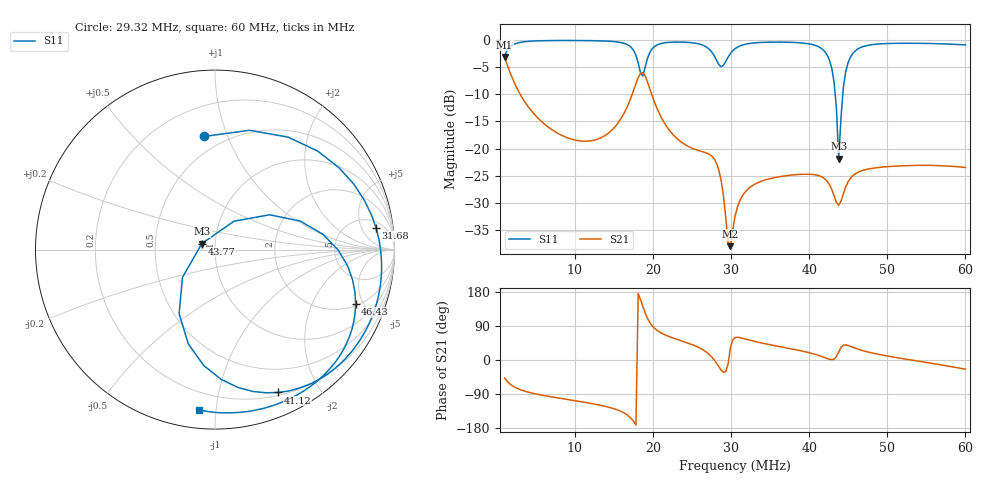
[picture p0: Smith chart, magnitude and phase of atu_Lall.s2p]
! S11/S21 from S-A-A-2 VNA
! Written 2026-11-14 07:43:04 by the saav2 MCP server
! S12 and S22 were not measured (1.5-port VNA) and are written as 0
# HZ S RI R 50
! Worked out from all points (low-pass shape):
!   201 points, 1 MHz to 60 MHz, reference 50 ohm
!   highest |S21| = -3.14 dB at 1 MHz (marker M1); lowest = -38.0 dB at 29.91 MHz (marker M2)
!   |S21| within 3 dB of the highest: start of sweep to 1.737 MHz; 18.44 MHz to 18.75 MHz (313 kHz wide, 1.68 % of centre)
!   lowest |S11| = -21.9 dB at 43.77 MHz (marker M3), VSWR 1.18, Z = 43.1 + j2.94 ohm
!   |S11| at or under -10 dB: 43.33 MHz to 44.3 MHz (978.5 kHz wide, 2.23 % of centre)
!   S12 and S22 are empty: the file has one direction only
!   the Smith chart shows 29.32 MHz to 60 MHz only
!   S11 on the Smith chart (normalised r, x): 29.32 MHz: 0.39, +0.83; 31.68 MHz: 7, +10; 41.12 MHz: 0.23, -1.51; 43.77 MHz: 0.86, +0.06; 46.43 MHz: 2.14, -4.37; 60 MHz: 0.10, -0.90
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1000000  0.5365 0.4687  0.4693 -0.5152  0 0  0 0
3360000  0.9455 0.1466  0.0453 -0.2815  0 0  0 0
1.103e7  0.9166 -0.3575  -0.0417 -0.1092  0 0  0 0
1.7225e7  0.1581 -0.8358  -0.2707 -0.1294  0 0  0 0
1.8405e7  -0.4909 -0.0638  -0.4607 0.1747  0 0  0 0
1.929e7  0.362 0.5684  -0.1418 0.3857  0 0  0 0
2.0765e7  0.9127 -0.00642  0.0552 0.2059  0 0  0 0
2.46e7  0.6761 -0.6608  0.0749 0.0719  0 0  0 0
2.696e7  0.0549 -0.8445  0.0855 0.0292  0 0  0 0
2.8435e7  -0.5884 -0.0632  0.0601 -0.0192  0 0  0 0
2.932e7  -0.0601 0.6304  0.0199 -0.0117  0 0  0 0
2.991e7  0.4066 0.6268  0.0108 0.00658  0 0  0 0
3.05e7  0.6893 0.4577  0.0123 0.0203  0 0  0 0
3.168e7  0.8977 0.1202  0.0216 0.0323  0 0  0 0
4.053e7  0.4547 -0.7765  0.0554 0.0162  0 0  0 0
4.112e7  0.3496 -0.7962  0.0552 0.0125  0 0  0 0
4.289e7  -0.1487 -0.5254  0.0421 0.000651  0 0  0 0
4.3775e7  -0.0731 0.0339  0.028 0.0109  0 0  0 0
4.466e7  0.4755 0.1588  0.0337 0.0282  0 0  0 0
4.643e7  0.7834 -0.3016  0.0545 0.0283  0 0  0 0
5.0265e7  0.6036 -0.7017  0.0674 0.0115  0 0  0 0
6e7  -0.0882 -0.8946  0.0611 -0.0273  0 0  0 0
